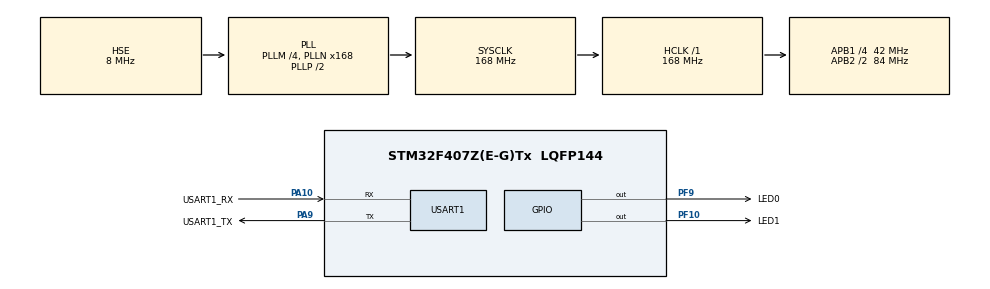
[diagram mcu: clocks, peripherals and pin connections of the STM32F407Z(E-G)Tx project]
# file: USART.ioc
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Mcu.Family=STM32F4
Mcu.Name=STM32F407Z(E-G)Tx
Mcu.Package=LQFP144
NVIC.PriorityGroup=NVIC_PRIORITYGROUP_2
NVIC.USART1_IRQn=true\:2\:2\:true\:false\:true\:true\:true
PA10.GPIO_Label=USART1_RX
PA10.Mode=Asynchronous
PA10.Signal=USART1_RX
PA9.GPIO_Label=USART1_TX
PA9.Mode=Asynchronous
PA9.Signal=USART1_TX
PC14-OSC32_IN.Mode=LSE-External-Oscillator
PC14-OSC32_IN.Signal=RCC_OSC32_IN
PC15-OSC32_OUT.Mode=LSE-External-Oscillator
PC15-OSC32_OUT.Signal=RCC_OSC32_OUT
PF10.GPIO_Label=LED1
PF10.GPIO_PuPd=GPIO_PULLUP
PF10.GPIO_Speed=GPIO_SPEED_FREQ_HIGH
PF10.PinState=GPIO_PIN_SET
PF10.Signal=GPIO_Output
PF9.GPIO_Label=LED0
PF9.GPIO_ModeDefaultOutputPP=GPIO_MODE_OUTPUT_PP
PF9.GPIO_PuPd=GPIO_PULLUP
PF9.GPIO_Speed=GPIO_SPEED_FREQ_HIGH
PF9.PinState=GPIO_PIN_SET
PF9.Signal=GPIO_Output
PH0-OSC_IN.Mode=HSE-External-Oscillator
PH0-OSC_IN.Signal=RCC_OSC_IN
PH1-OSC_OUT.Mode=HSE-External-Oscillator
PH1-OSC_OUT.Signal=RCC_OSC_OUT
ProjectManager.HeapSize=0x200
ProjectManager.StackSize=0x400
ProjectManager.TargetToolchain=MDK-ARM V5.27
RCC.48MHZClocksFreq_Value=84000000
RCC.AHBFreq_Value=168000000
RCC.APB1CLKDivider=RCC_HCLK_DIV4
RCC.APB1Freq_Value=42000000
RCC.APB1TimFreq_Value=84000000
RCC.APB2CLKDivider=RCC_HCLK_DIV2
RCC.APB2Freq_Value=84000000
RCC.APB2TimFreq_Value=168000000
RCC.CortexFreq_Value=168000000
RCC.HCLKFreq_Value=168000000
RCC.HSE_VALUE=8000000
RCC.HSI_VALUE=16000000
RCC.PLLM=4
RCC.PLLN=168
RCC.PLLSourceVirtual=RCC_PLLSOURCE_HSE
RCC.SYSCLKFreq_VALUE=168000000
RCC.SYSCLKSource=RCC_SYSCLKSOURCE_PLLCLK
RCC.VCOOutputFreq_Value=336000000
USART1.VirtualMode=VM_ASYNC
board=custom

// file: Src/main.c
/* USER CODE BEGIN Header */
/**
  ******************************************************************************
  * @file           : main.c
  * @brief          : Main program body
  ******************************************************************************
  * @attention
  *
  * <h2><center>&copy; Copyright (c) 2021 STMicroelectronics.
  * All rights reserved.</center></h2>
  *
  * This software component is licensed by ST under BSD 3-Clause license,
  * the "License"; You may not use this file except in compliance with the
  * License. You may obtain a copy of the License at:
  *                        opensource.org/licenses/BSD-3-Clause
  *
  ******************************************************************************
  */
/* USER CODE END Header */

#include "main.h"
#include "usart.h"
#include "gpio.h"

void SystemClock_Config(void);

/* USER CODE BEGIN 0 */
#define USART_REC_LEN 200
uint8_t		Res;
uint8_t 	USART1_RX_BUF[USART_REC_LEN];     //接收缓冲,最大USART_REC_LEN个字节.（一般给200，接收数据量大就增加）
uint16_t  USART1_RX_STA;       			 				//接收状态标记
/* USER CODE END 0 */

int main(void)
{

  /* MCU Configuration--------------------------------------------------------*/

  /* Reset of all peripherals, Initializes the Flash interface and the Systick. */
  HAL_Init();

  /* Configure the system clock */
  SystemClock_Config();

  /* Initialize all configured peripherals */
  MX_GPIO_Init();
  MX_USART1_UART_Init();
  /* USER CODE BEGIN 2 */

	//开启接收中断
	HAL_UART_Receive_IT(&huart1, &Res, 1);
	//发送初始化完成提示
	HAL_UART_Transmit_IT(&huart1,"USART1_Ready!",sizeof("USART1_Ready!"));
	//等待发送完成
	while(huart1.gState != HAL_UART_STATE_READY){};

  /* USER CODE END 2 */

  /* Infinite loop */
  while (1)
  {

    /* USER CODE BEGIN 3 */
		if(USART1_RX_STA & 0x8000)
		{
			HAL_UART_Transmit_IT(&huart1,"Get_Dat:",sizeof("Get_Dat:"));
			//等待发送完成
			while(huart1.gState != HAL_UART_STATE_READY){};
			//发送接收到的字节
			HAL_UART_Transmit_IT(&huart1,USART1_RX_BUF,USART1_RX_STA&0x7FFF);
			while(huart1.gState != HAL_UART_STATE_READY){};

			if(USART1_RX_BUF[0]== 'A')
					HAL_GPIO_WritePin(LED0_GPIO_Port,LED0_Pin,GPIO_PIN_RESET);
			if(USART1_RX_BUF[0]== 'B')
					HAL_GPIO_WritePin(LED1_GPIO_Port,LED1_Pin,GPIO_PIN_RESET);
			if(USART1_RX_BUF[0]== 'C')
			{
					HAL_GPIO_WritePin(LED0_GPIO_Port,LED0_Pin,GPIO_PIN_SET);
					HAL_GPIO_WritePin(LED1_GPIO_Port,LED1_Pin,GPIO_PIN_SET);
			}
			USART1_RX_STA=0;
		}
		HAL_Delay(100);
  }
  /* USER CODE END 3 */
}

void SystemClock_Config(void)
{
  RCC_OscInitTypeDef RCC_OscInitStruct = {0};
  RCC_ClkInitTypeDef RCC_ClkInitStruct = {0};

  /** Configure the main internal regulator output voltage
  */
  __HAL_RCC_PWR_CLK_ENABLE();
  __HAL_PWR_VOLTAGESCALING_CONFIG(PWR_REGULATOR_VOLTAGE_SCALE1);
  /** Initializes the CPU, AHB and APB busses clocks
  */
  RCC_OscInitStruct.OscillatorType = RCC_OSCILLATORTYPE_HSE;
  RCC_OscInitStruct.HSEState = RCC_HSE_ON;
  RCC_OscInitStruct.PLL.PLLState = RCC_PLL_ON;
  RCC_OscInitStruct.PLL.PLLSource = RCC_PLLSOURCE_HSE;
  RCC_OscInitStruct.PLL.PLLM = 4;
  RCC_OscInitStruct.PLL.PLLN = 168;
  RCC_OscInitStruct.PLL.PLLP = RCC_PLLP_DIV2;
  RCC_OscInitStruct.PLL.PLLQ = 4;
  if (HAL_RCC_OscConfig(&RCC_OscInitStruct) != HAL_OK)
  {
    Error_Handler();
  }
  /** Initializes the CPU, AHB and APB busses clocks
  */
  RCC_ClkInitStruct.ClockType = RCC_CLOCKTYPE_HCLK|RCC_CLOCKTYPE_SYSCLK
                              |RCC_CLOCKTYPE_PCLK1|RCC_CLOCKTYPE_PCLK2;
  RCC_ClkInitStruct.SYSCLKSource = RCC_SYSCLKSOURCE_PLLCLK;
  RCC_ClkInitStruct.AHBCLKDivider = RCC_SYSCLK_DIV1;
  RCC_ClkInitStruct.APB1CLKDivider = RCC_HCLK_DIV4;
  RCC_ClkInitStruct.APB2CLKDivider = RCC_HCLK_DIV2;

  if (HAL_RCC_ClockConfig(&RCC_ClkInitStruct, FLASH_LATENCY_5) != HAL_OK)
  {
    Error_Handler();
  }
}

/* USER CODE BEGIN 4 */
void HAL_UART_RxCpltCallback(UART_HandleTypeDef *huart)
{
    /* 判断是哪个串口触发的中断 */
    if(huart ->Instance == USART1)
    {

				if((USART1_RX_STA&0x8000)==0)//接收未完成
				{
					//读取接收到的数据
					if(Res==0x0D)
					{
						USART1_RX_STA|=0x8000;
						HAL_UART_Receive_IT(&huart1, &Res, 1);
					}
					else
					{
						USART1_RX_BUF[USART1_RX_STA&0X3FFF]=Res ;
						USART1_RX_STA++;
						if(USART1_RX_STA>(USART_REC_LEN-1))
							USART1_RX_STA=0;
					}
				}
				//等待下一次接收中断
				HAL_UART_Receive_IT(huart,&Res,1);
    }
}
/* USER CODE END 4 */

void Error_Handler(void)
{
}

/************************ (C) COPYRIGHT STMicroelectronics *****END OF FILE****/
